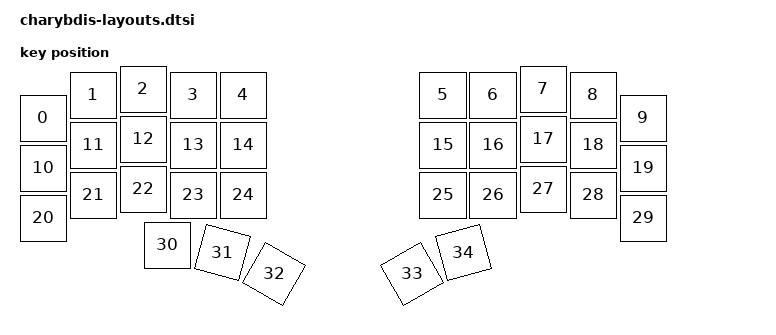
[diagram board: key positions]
#include <physical_layouts.dtsi>

/ {
    charybdis_physical_layout: charybdis_physical_layout {
        compatible = "zmk,physical-layout";
        display-name = "Charybdis 3x5";
        status = "okay";
        kscan = <&kscan0>;
        transform = <&five_column_transform>;

        keys
            // Left Half - Main Keys
            //                       w   h    x    y     rot    rx    ry
            = <&key_physical_attrs 100 100    0   58       0     0     0>
            , <&key_physical_attrs 100 100  100   12       0     0     0>
            , <&key_physical_attrs 100 100  200    0       0     0     0>
            , <&key_physical_attrs 100 100  300   12       0     0     0>
            , <&key_physical_attrs 100 100  400   12       0     0     0>
            , <&key_physical_attrs 100 100  800   12       0     0     0>
            , <&key_physical_attrs 100 100  900   12       0     0     0>
            , <&key_physical_attrs 100 100 1000    0       0     0     0>
            , <&key_physical_attrs 100 100 1100   12       0     0     0>
            , <&key_physical_attrs 100 100 1200   58       0     0     0>
            , <&key_physical_attrs 100 100    0  158       0     0     0>
            , <&key_physical_attrs 100 100  100  112       0     0     0>
            , <&key_physical_attrs 100 100  200  100       0     0     0>
            , <&key_physical_attrs 100 100  300  112       0     0     0>
            , <&key_physical_attrs 100 100  400  112       0     0     0>

            // Right Half - Main Keys
            //                       w   h    x    y     rot    rx    ry
            , <&key_physical_attrs 100 100  800  112       0     0     0>
            , <&key_physical_attrs 100 100  900  112       0     0     0>
            , <&key_physical_attrs 100 100 1000  100       0     0     0>
            , <&key_physical_attrs 100 100 1100  112       0     0     0>
            , <&key_physical_attrs 100 100 1200  158       0     0     0>
            , <&key_physical_attrs 100 100    0  258       0     0     0>
            , <&key_physical_attrs 100 100  100  212       0     0     0>
            , <&key_physical_attrs 100 100  200  200       0     0     0>
            , <&key_physical_attrs 100 100  300  212       0     0     0>
            , <&key_physical_attrs 100 100  400  212       0     0     0>
            , <&key_physical_attrs 100 100  800  212       0     0     0>
            , <&key_physical_attrs 100 100  900  212       0     0     0>
            , <&key_physical_attrs 100 100 1000  200       0     0     0>
            , <&key_physical_attrs 100 100 1100  212       0     0     0>
            , <&key_physical_attrs 100 100 1200  258       0     0     0>

            // Thumb Clusters
            //                       w   h    x    y     rot    rx    ry
            , <&key_physical_attrs 100 100  248  312       0     0     0>
            , <&key_physical_attrs 100 100  248  312    1500   298   790>
            , <&key_physical_attrs 100 100  248  312    3000   298   790>
            , <&key_physical_attrs 100 100  952  312 (-3000)  1002   790>
            , <&key_physical_attrs 100 100  952  312 (-1500)  1002   790>
            ;
    };
};
